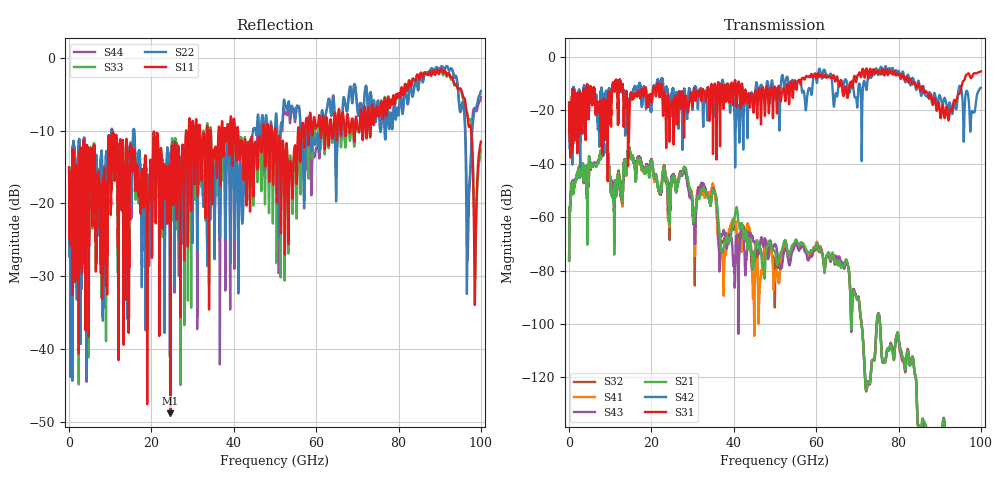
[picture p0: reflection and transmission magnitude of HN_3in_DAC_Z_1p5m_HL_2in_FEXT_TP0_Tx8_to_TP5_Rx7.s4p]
# GHz S RI R 45
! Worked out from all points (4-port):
!   4000 points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, 25 MHz to 100 GHz, reference 45 ohm
!   strongest paths, dB at 25 MHz, 25.02 GHz, 50.02 GHz, 75.03 GHz, 100 GHz:
!     S31: -17.1, -16.1, -11.3, -5.4, -5.4
!     S42: -17.1, -12.8, -11.9, -6.5, -11.5
!     S21: -76.3, -45.9, -72.8, -96.3, -
!     S43: -76.3, -44.7, -70.1, -96.2, -
!     S41: -76.0, -45.4, -80.9, -96.1, -
!     S32: -76.0, -46.4, -86.4, -96.4, -
!   lowest |S11| = -48.8 dB at 24.62 GHz (marker M1), VSWR 1.01, Z = 45.2 + j0.284 ohm
!   |S11| at or under -10 dB: start of sweep to 28.42 GHz; 41.05 GHz to 47.1 GHz (6.05 GHz wide, 13.7 % of centre); 50.14 GHz to 55.61 GHz (5.466 GHz wide, 10.3 % of centre)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
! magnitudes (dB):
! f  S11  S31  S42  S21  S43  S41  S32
! 25 MHz  -15.0  -17.1  -17.1  -76.3  -76.3  -76.0  -76.0
! 8.55 GHz  -15.2  -15.6  -23.1  -34.2  -34.3  -34.2  -34.5
! 10.57 GHz  -10.6  -10.0  -11.7  -50.7  -47.0  -48.3  -47.2
! 14.65 GHz  -20.7  -22.8  -16.5  -34.2  -33.8  -34.1  -34.2
! 24.62 GHz  -48.8  -19.1  -19.7  -51.1  -48.7  -49.6  -51.9
! 44.95 GHz  -13.4  -16.9  -14.9  -76.1  -69.0  -98.3  -73.4
! 100 GHz  -11.5  -5.4  -11.5  -  -  -  -
